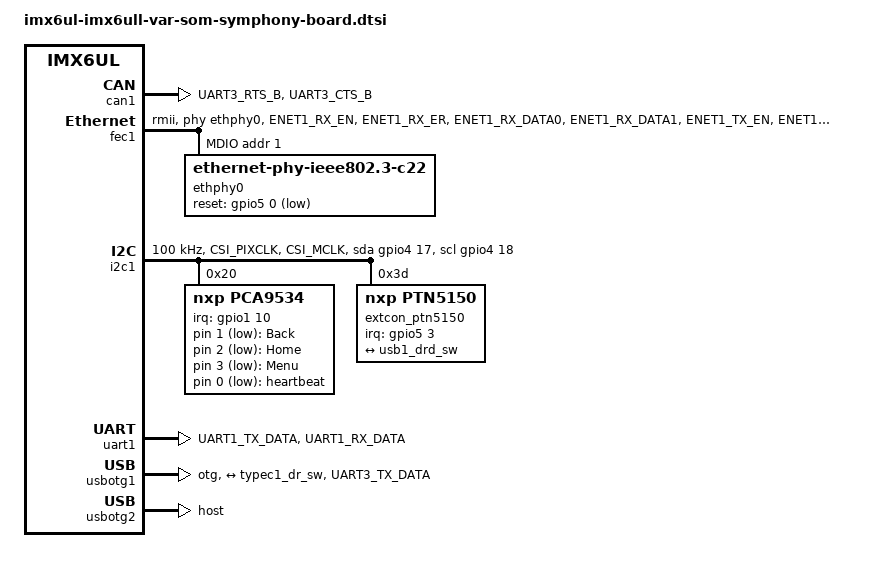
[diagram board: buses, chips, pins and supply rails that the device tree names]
// SPDX-License-Identifier: GPL-2.0+
/*
 * Copyright (C) 2026 Variscite Ltd. - https://www.variscite.com
 */

/ {
	chosen {
		stdout-path = &uart1;
	};

	gpio-keys {
		compatible = "gpio-keys";

		key-back {
			label = "Back";
			gpios = <&pca9534 1 GPIO_ACTIVE_LOW>;
			linux,code = <KEY_BACK>;
		};

		key-home {
			label = "Home";
			gpios = <&pca9534 2 GPIO_ACTIVE_LOW>;
			linux,code = <KEY_HOME>;
		};

		key-menu {
			label = "Menu";
			gpios = <&pca9534 3 GPIO_ACTIVE_LOW>;
			linux,code = <KEY_MENU>;
		};
	};

	leds {
		compatible = "gpio-leds";

		led-heartbeat {
			label = "heartbeat";
			gpios = <&pca9534 0 GPIO_ACTIVE_LOW>;
			linux,default-trigger = "heartbeat";
		};
	};
};

&can1 {
	pinctrl-names = "default";
	pinctrl-0 = <&pinctrl_flexcan1>;
	status = "okay";
};

&fec1 {
	pinctrl-names = "default";
	pinctrl-0 = <&pinctrl_enet1>, <&pinctrl_enet1_gpio>, <&pinctrl_enet1_mdio>;
	phy-mode = "rmii";
	phy-handle = <&ethphy0>;
	status = "okay";

	mdio {
		#address-cells = <1>;
		#size-cells = <0>;

		ethphy0: ethernet-phy@1 {
			compatible = "ethernet-phy-ieee802.3-c22";
			reg = <1>;
			clocks = <&rmii_ref_clk>;
			clock-names = "rmii-ref";
			reset-gpios = <&gpio5 0 GPIO_ACTIVE_LOW>;
			reset-assert-us = <10000>;
			reset-deassert-us = <100000>;
			micrel,rmii-reference-clock-select-25-mhz = <1>;
			micrel,led-mode = <1>;
		};
	};
};

&i2c1 {
	clock-frequency = <100000>;
	pinctrl-names = "default", "gpio";
	pinctrl-0 = <&pinctrl_i2c1>;
	pinctrl-1 = <&pinctrl_i2c1_gpio>;
	scl-gpios = <&gpio4 18 (GPIO_ACTIVE_HIGH | GPIO_OPEN_DRAIN)>;
	sda-gpios = <&gpio4 17 (GPIO_ACTIVE_HIGH | GPIO_OPEN_DRAIN)>;
	status = "okay";

	/* GPIO expander */
	pca9534: gpio@20 {
		compatible = "nxp,pca9534";
		reg = <0x20>;
		gpio-controller;
		#gpio-cells = <2>;
		pinctrl-names = "default";
		pinctrl-0 = <&pinctrl_pca9534>;
		interrupt-parent = <&gpio1>;
		interrupts = <10 IRQ_TYPE_EDGE_FALLING>;
	};

	/* USB Type-C Controller */
	extcon_ptn5150: typec@3d {
		compatible = "nxp,ptn5150";
		reg = <0x3d>;
		pinctrl-names = "default";
		pinctrl-0 = <&pinctrl_extcon>;
		interrupt-parent = <&gpio5>;
		interrupts = <3 IRQ_TYPE_EDGE_FALLING>;

		port {
			typec1_dr_sw: endpoint {
				remote-endpoint = <&usb1_drd_sw>;
			};
		};
	};
};

&snvs_pwrkey {
	status = "disabled";
};

&snvs_rtc {
	status = "disabled";
};

&tsc {
	/*
	 * Conflicts with wdog1 ext-reset-output & SD CD pins,
	 * so we keep it disabled by default
	 */
	status = "disabled";
};

/* Console UART */
&uart1 {
	pinctrl-names = "default";
	pinctrl-0 = <&pinctrl_uart1>;
	status = "okay";
};

&usbotg1 {
	pinctrl-names = "default";
	pinctrl-0 = <&pinctrl_usb_otg1_id>;
	dr_mode = "otg";
	hnp-disable;
	srp-disable;
	adp-disable;
	usb-role-switch;
	disable-over-current;
	status = "okay";

	port {
		usb1_drd_sw: endpoint {
			remote-endpoint = <&typec1_dr_sw>;
		};
	};
};

&usbotg2 {
	dr_mode = "host";
	disable-over-current;
	status = "okay";
};

&iomuxc {
	pinctrl_enet1: enet1-grp {
		fsl,pins = <
			MX6UL_PAD_ENET1_RX_EN__ENET1_RX_EN	0x1b0b0
			MX6UL_PAD_ENET1_RX_ER__ENET1_RX_ER	0x1b0b0
			MX6UL_PAD_ENET1_RX_DATA0__ENET1_RDATA00	0x1b0b0
			MX6UL_PAD_ENET1_RX_DATA1__ENET1_RDATA01	0x1b0b0
			MX6UL_PAD_ENET1_TX_EN__ENET1_TX_EN	0x1b0b0
			MX6UL_PAD_ENET1_TX_DATA0__ENET1_TDATA00	0x1b0b0
			MX6UL_PAD_ENET1_TX_DATA1__ENET1_TDATA01	0x1b0b0
			MX6UL_PAD_ENET1_TX_CLK__ENET1_REF_CLK1	0x4001b031
		>;
	};

	pinctrl_enet1_mdio: enet1-mdio-grp {
		fsl,pins = <
			MX6UL_PAD_GPIO1_IO06__ENET1_MDIO	0x1b0b0
			MX6UL_PAD_GPIO1_IO07__ENET1_MDC		0x1b0b0
		>;
	};

	pinctrl_ft5x06_ts_gpio: ft5x06-ts-gpio-grp {
		fsl,pins = <
			MX6UL_PAD_LCD_DATA01__GPIO3_IO06	0x80000000
		>;
	};

	pinctrl_ecspi4: ecspi4-grp {
		fsl,pins = <
			MX6UL_PAD_ENET2_TX_DATA1__ECSPI4_SCLK	0x100b1
			MX6UL_PAD_ENET2_TX_EN__ECSPI4_MOSI	0x100b1
			MX6UL_PAD_ENET2_TX_CLK__ECSPI4_MISO	0x100b1
		>;
	};

	pinctrl_ecspi4_cs: ecspi4-cs-grp {
		fsl,pins = <
			MX6UL_PAD_ENET2_RX_ER__GPIO2_IO15	0x100b1
		>;
	};

	pinctrl_flexcan1: flexcan1-grp {
		fsl,pins = <
			MX6UL_PAD_UART3_RTS_B__FLEXCAN1_RX	0x1b020
			MX6UL_PAD_UART3_CTS_B__FLEXCAN1_TX	0x1b020
		>;
	};

	pinctrl_i2c1: i2c1-grp {
		fsl,pins = <
			MX6UL_PAD_CSI_PIXCLK__I2C1_SCL		0x4001b8b0
			MX6UL_PAD_CSI_MCLK__I2C1_SDA		0x4001b8b0
		>;
	};

	pinctrl_i2c1_gpio: i2c1-gpio-grp {
		fsl,pins = <
			MX6UL_PAD_CSI_PIXCLK__GPIO4_IO18	0x1b0b0
			MX6UL_PAD_CSI_MCLK__GPIO4_IO17		0x1b0b0
		>;
	};

	pinctrl_i2c3: i2c3-grp {
		fsl,pins = <
			MX6UL_PAD_ENET2_RX_DATA0__I2C3_SCL	0x4001b8b0
			MX6UL_PAD_ENET2_RX_DATA1__I2C3_SDA	0x4001b8b0
		>;
	};

	pinctrl_i2c3_gpio: i2c3-gpio-grp {
		fsl,pins = <
			MX6UL_PAD_ENET2_RX_DATA0__GPIO2_IO08	0x1b0b0
			MX6UL_PAD_ENET2_RX_DATA1__GPIO2_IO09	0x1b0b0
		>;
	};

	pinctrl_i2c4: i2c4-grp {
		fsl,pins = <
			MX6UL_PAD_ENET2_RX_EN__I2C4_SCL		0x4001b8b0
			MX6UL_PAD_ENET2_TX_DATA0__I2C4_SDA	0x4001b8b0
		>;
	};

	pinctrl_i2c4_gpio: i2c4-gpio-grp {
		fsl,pins = <
			MX6UL_PAD_ENET2_RX_EN__GPIO2_IO10	0x1b0b0
			MX6UL_PAD_ENET2_TX_DATA0__GPIO2_IO11	0x1b0b0
		>;
	};

	pinctrl_uart1: uart1-grp {
		fsl,pins = <
			MX6UL_PAD_UART1_TX_DATA__UART1_DCE_TX	0x1b0b1
			MX6UL_PAD_UART1_RX_DATA__UART1_DCE_RX	0x1b0b1
		>;
	};

	pinctrl_uart7: uart7-grp {
		fsl,pins = <
			MX6UL_PAD_LCD_DATA16__UART7_DCE_TX	0x1b0b1
			MX6UL_PAD_LCD_DATA17__UART7_DCE_RX	0x1b0b1
		>;
	};

	pinctrl_usb_otg1_id: usb-otg1-id-grp {
		fsl,pins = <
			MX6UL_PAD_UART3_TX_DATA__ANATOP_OTG1_ID	0x17059
		>;
	};

	pinctrl_pca9534: pca9534-grp {
		fsl,pins = <
			MX6UL_PAD_JTAG_MOD__GPIO1_IO10		0x17059
		>;
	};
};
